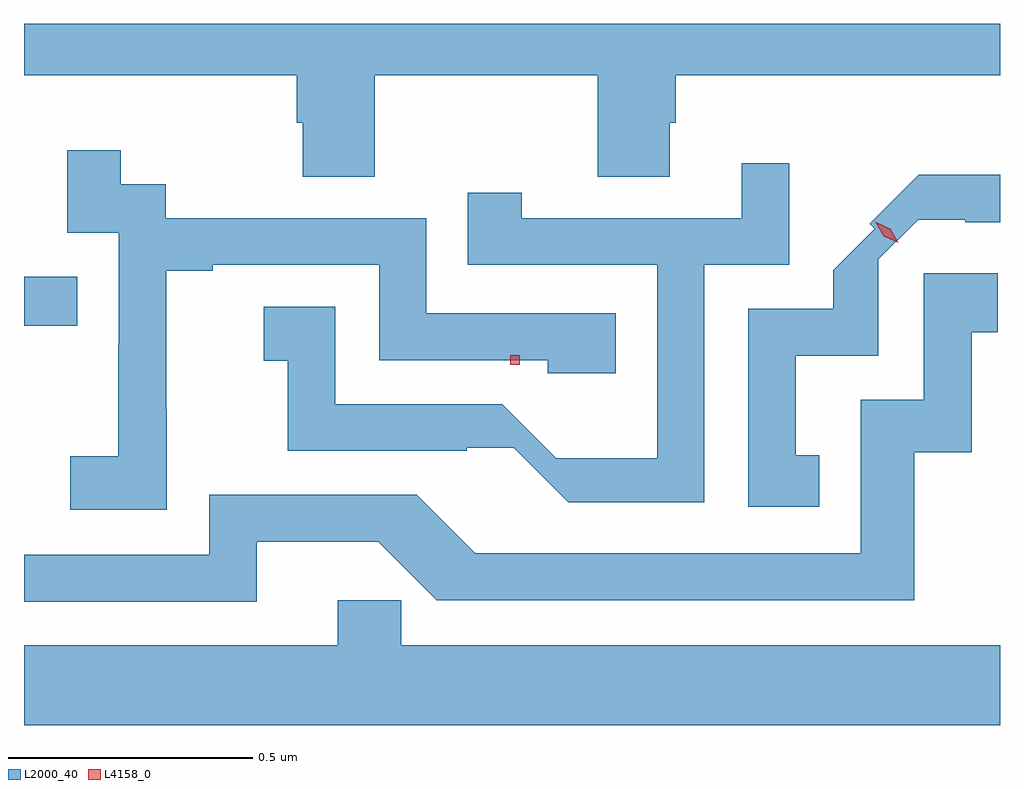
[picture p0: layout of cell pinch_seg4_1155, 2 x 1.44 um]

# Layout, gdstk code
import gdstk
lib = gdstk.Library(unit=1e-6, precision=1e-09)
def R(c, l, rs):  # rectangles x0, y0, x1, y1
    for r in rs: c.add(gdstk.rectangle(r[:2], r[2:], *l))
def P(c, l, *ps):  # polygons
    for p in ps: c.add(gdstk.Polygon(p, *l))
L2000_40 = (2000, 40)
L4158_0 = (4158, 0)

pinch_seg4_1155 = lib.new_cell('pinch_seg4_1155')
R(pinch_seg4_1155, L2000_40, [(514.87,801.634,514.979,801.735)])
P(pinch_seg4_1155, L2000_40, [(515.589,802.148),(516.046,802.148),(516.046,801.94),(516.193,801.94),(516.193,802.05),(516.206,802.05),(516.206,802.148),(516.87,802.148),(516.87,802.253),(514.87,802.253),(514.87,802.148),(515.429,802.148),(515.429,802.05),(515.441,802.05),(515.441,801.94),(515.589,801.94)],
  [(515.163,801.463),(515.162,801.463),(515.162,801.747),(515.257,801.747),(515.257,801.759),(515.598,801.759),(515.598,801.564),(515.943,801.564),(515.943,801.537),(516.083,801.537),(516.083,801.66),(515.694,801.66),(515.694,801.855),(515.16,801.855),(515.16,801.924),(515.068,801.924),(515.068,801.994),(514.959,801.994),(514.959,801.825),(515.064,801.825),(515.064,801.596),(515.063,801.596),(515.063,801.367),(514.965,801.367),(514.965,801.257),(515.163,801.257)],
  [(516.264,801.759),(516.438,801.759),(516.438,801.967),(516.341,801.967),(516.341,801.855),(515.89,801.855),(515.89,801.907),(515.779,801.907),(515.779,801.759),(516.168,801.759),(516.168,801.363),(515.961,801.363),(515.85,801.474),(515.508,801.474),(515.508,801.673),(515.361,801.673),(515.361,801.563),(515.41,801.563),(515.41,801.378),(515.777,801.378),(515.777,801.384),(515.874,801.384),(515.985,801.273),(516.264,801.273)],
  [(516.5,801.369),(516.451,801.369),(516.451,801.573),(516.621,801.573),(516.621,801.771),(516.702,801.852),(516.799,801.852),(516.799,801.846),(516.87,801.846),(516.87,801.944),(516.703,801.944),(516.603,801.843),(516.613,801.833),(516.528,801.748),(516.528,801.669),(516.354,801.669),(516.354,801.264),(516.5,801.264)],
  [(515.347,801.192),(515.596,801.192),(515.716,801.072),(516.694,801.072),(516.694,801.375),(516.812,801.375),(516.812,801.621),(516.865,801.621),(516.865,801.742),(516.714,801.742),(516.714,801.483),(516.585,801.483),(516.585,801.168),(515.795,801.168),(515.675,801.288),(515.25,801.288),(515.25,801.165),(514.87,801.165),(514.87,801.069),(515.347,801.069)],
  [(516.87,800.98),(515.643,800.98),(515.643,801.072),(515.513,801.072),(515.513,800.98),(514.87,800.98),(514.87,800.816),(516.87,800.816)])
R(pinch_seg4_1155, L4158_0, [(515.866,801.554,515.886,801.574)])
P(pinch_seg4_1155, L4158_0, [(516.662,801.804),(516.632,801.818),(516.614,801.847),(516.614,801.847),(516.614,801.847),(516.645,801.833),(516.662,801.804),(516.662,801.804)])

lib.write_gds('pinch_seg4_1155.gds')
